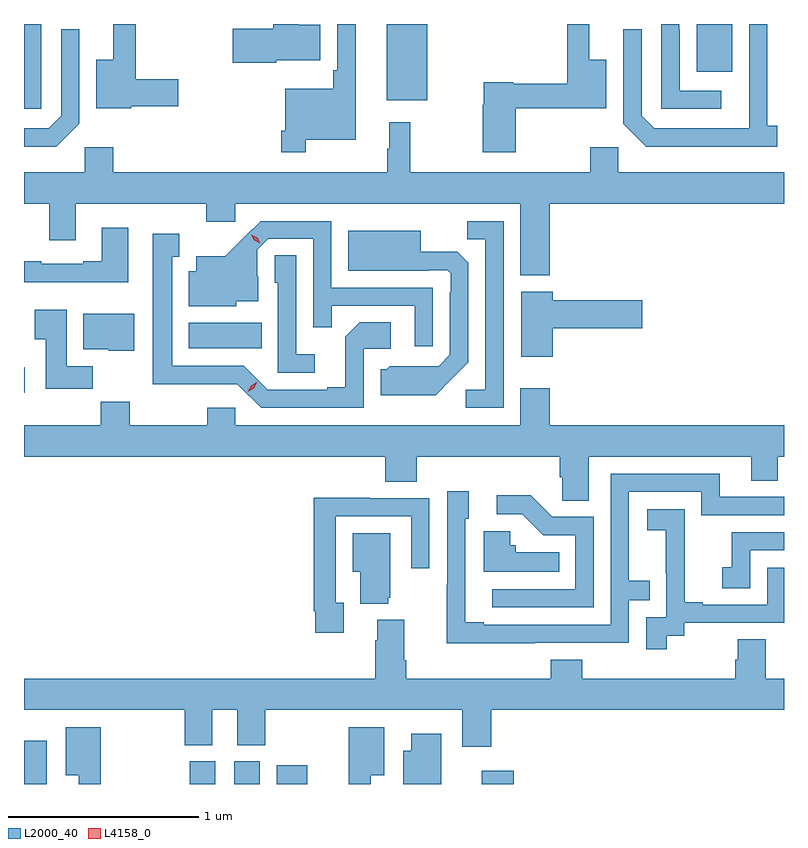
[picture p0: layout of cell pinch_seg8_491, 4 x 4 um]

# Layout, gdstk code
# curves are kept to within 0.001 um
import gdstk
lib = gdstk.Library(unit=1e-6, precision=1e-09)
def R(c, l, rs):  # rectangles x0, y0, x1, y1
    for r in rs: c.add(gdstk.rectangle(r[:2], r[2:], *l))
def P(c, l, *ps):  # polygons
    for p in ps: c.add(gdstk.Polygon(p, *l))
L2000_40 = (2000, 40)
L4158_0 = (4158, 0)

pinch_seg8_491 = lib.new_cell('pinch_seg8_491')
R(pinch_seg8_491, L2000_40, [(157.151,1121.437,157.27,1121.665), (158.024,1121.437,158.158,1121.556), (158.258,1121.437,158.392,1121.556), (158.48,1121.437,158.641,1121.536), (159.56,1121.437,159.728,1121.506), (157.151,1123.496,157.156,1123.63), (158.018,1123.73,158.402,1123.864), (157.151,1124.991,157.242,1125.437), (159.059,1125.035,159.274,1125.437), (160.691,1125.185,160.879,1125.437)])
P(pinch_seg8_491, L2000_40, [(161.116,1124.902),(161.064,1124.902),(161.064,1125.437),(160.968,1125.437),(160.967,1124.889),(160.467,1124.889),(160.401,1124.955),(160.401,1125.409),(160.305,1125.409),(160.305,1124.913),(160.426,1124.792),(161.116,1124.792)],
  [(157.716,1125.004),(157.963,1125.004),(157.963,1125.146),(157.739,1125.146),(157.739,1125.437),(157.622,1125.437),(157.622,1125.25),(157.532,1125.25),(157.532,1124.993),(157.716,1124.993)],
  [(158.478,1125.245),(158.71,1125.245),(158.71,1125.433),(158.596,1125.433),(158.596,1125.437),(158.462,1125.437),(158.462,1125.411),(158.25,1125.411),(158.25,1125.233),(158.478,1125.233)],
  [(158.635,1124.828),(158.896,1124.828),(158.896,1125.437),(158.799,1125.437),(158.799,1125.193),(158.779,1125.193),(158.779,1125.097),(158.526,1125.097),(158.526,1124.875),(158.506,1124.875),(158.506,1124.763),(158.635,1124.763)],
  [(159.738,1124.994),(160.216,1124.994),(160.216,1125.25),(160.127,1125.25),(160.127,1125.437),(160.009,1125.437),(160.009,1125.122),(159.726,1125.122),(159.726,1125.13),(159.572,1125.13),(159.572,1125.011),(159.565,1125.011),(159.565,1124.763),(159.738,1124.763)],
  [(160.822,1125.087),(160.602,1125.087),(160.602,1125.407),(160.599,1125.407),(160.599,1125.437),(160.506,1125.437),(160.506,1124.991),(160.822,1124.991)],
  [(157.443,1124.913),(157.443,1125.409),(157.347,1125.409),(157.347,1124.955),(157.281,1124.889),(157.151,1124.889),(157.151,1124.792),(157.322,1124.792)],
  [(159.917,1124.492),(161.151,1124.492),(161.151,1124.656),(160.278,1124.656),(160.278,1124.788),(160.132,1124.788),(160.132,1124.656),(159.184,1124.656),(159.184,1124.92),(159.074,1124.92),(159.074,1124.78),(159.063,1124.78),(159.063,1124.656),(157.622,1124.656),(157.622,1124.788),(157.47,1124.788),(157.47,1124.656),(157.151,1124.656),(157.151,1124.492),(157.283,1124.492),(157.283,1124.298),(157.423,1124.298),(157.423,1124.492),(158.111,1124.492),(158.111,1124.397),(158.262,1124.397),(158.262,1124.492),(159.764,1124.492),(159.764,1124.114),(159.917,1124.114)],
  [(159.303,1124.049),(158.769,1124.049),(158.769,1124.4),(158.396,1124.4),(158.209,1124.215),(158.057,1124.215),(158.057,1124.137),(158.018,1124.137),(158.018,1123.952),(158.268,1123.952),(158.268,1123.979),(158.383,1123.979),(158.383,1124.108),(158.379,1124.108),(158.379,1124.25),(158.436,1124.307),(158.673,1124.307),(158.673,1123.84),(158.771,1123.84),(158.771,1123.953),(159.207,1123.953),(159.207,1123.74),(159.303,1123.74)],
  [(159.675,1124.4),(159.484,1124.4),(159.484,1124.305),(159.579,1124.305),(159.579,1123.512),(159.477,1123.512),(159.477,1123.416),(159.675,1123.416)],
  [(157.699,1124.365),(157.559,1124.365),(157.559,1124.188),(157.463,1124.188),(157.463,1124.175),(157.243,1124.175),(157.243,1124.188),(157.151,1124.188),(157.151,1124.078),(157.699,1124.078)],
  [(159.397,1123.565),(159.489,1123.658),(159.489,1124.18),(159.43,1124.239),(159.238,1124.239),(159.238,1124.35),(158.858,1124.35),(158.858,1124.138),(159.278,1124.138),(159.278,1124.142),(159.378,1124.142),(159.396,1124.124),(159.396,1124.024),(159.393,1124.024),(159.393,1123.695),(159.333,1123.635),(159.076,1123.636),(159.06,1123.62),(159.029,1123.62),(159.029,1123.484),(159.317,1123.484)],
  [(158.94,1123.728),(159.082,1123.728),(159.082,1123.868),(158.917,1123.868),(158.841,1123.792),(158.841,1123.525),(158.747,1123.525),(158.747,1123.512),(158.433,1123.512),(158.307,1123.638),(157.93,1123.638),(157.93,1124.211),(157.969,1124.211),(157.969,1124.332),(157.829,1124.332),(157.829,1123.541),(158.274,1123.542),(158.4,1123.416),(158.94,1123.416)],
  [(158.68,1123.699),(158.583,1123.699),(158.583,1124.219),(158.472,1124.219),(158.472,1124.076),(158.487,1124.076),(158.487,1123.602),(158.68,1123.602)],
  [(159.934,1123.835),(160.405,1123.835),(160.405,1123.982),(159.934,1123.982),(159.934,1124.029),(159.767,1124.029),(159.767,1123.686),(159.934,1123.686)],
  [(157.514,1123.636),(157.375,1123.636),(157.375,1123.933),(157.208,1123.933),(157.208,1123.777),(157.265,1123.777),(157.265,1123.518),(157.514,1123.518)],
  [(157.732,1123.912),(157.463,1123.912),(157.463,1123.724),(157.596,1123.724),(157.596,1123.718),(157.732,1123.718)],
  [(159.917,1123.519),(159.764,1123.519),(159.764,1123.324),(158.262,1123.324),(158.262,1123.417),(158.116,1123.417),(158.116,1123.324),(157.707,1123.324),(157.707,1123.448),(157.555,1123.448),(157.555,1123.324),(157.151,1123.324),(157.151,1123.16),(159.053,1123.16),(159.053,1123.027),(159.218,1123.027),(159.218,1123.16),(159.971,1123.16),(159.971,1123.051),(159.984,1123.051),(159.984,1122.928),(160.123,1122.928),(160.123,1123.16),(160.979,1123.16),(160.979,1123.033),(161.118,1123.033),(161.118,1123.16),(161.151,1123.16),(161.151,1123.324),(159.917,1123.324)],
  [(159.839,1122.18),(160.335,1122.18),(160.335,1122.405),(160.445,1122.405),(160.445,1122.506),(160.335,1122.506),(160.335,1122.975),(160.716,1122.975),(160.716,1122.852),(161.151,1122.852),(161.151,1122.948),(160.813,1122.948),(160.813,1123.071),(160.239,1123.071),(160.239,1122.276),(159.571,1122.276),(159.571,1122.289),(159.474,1122.289),(159.474,1122.834),(159.493,1122.834),(159.493,1122.979),(159.378,1122.979),(159.378,1122.485),(159.376,1122.485),(159.376,1122.179),(159.839,1122.179)],
  [(160.149,1122.843),(159.93,1122.843),(159.817,1122.956),(159.639,1122.956),(159.639,1122.858),(159.773,1122.858),(159.884,1122.747),(160.053,1122.747),(160.053,1122.462),(159.615,1122.462),(159.615,1122.366),(160.149,1122.366)],
  [(158.833,1122.39),(158.793,1122.39),(158.793,1122.846),(159.189,1122.846),(159.189,1122.573),(159.285,1122.573),(159.285,1122.942),(158.969,1122.942),(158.969,1122.944),(158.677,1122.944),(158.677,1122.346),(158.685,1122.346),(158.685,1122.234),(158.833,1122.234)],
  [(160.534,1122.217),(160.626,1122.217),(160.626,1122.285),(161.151,1122.285),(161.151,1122.576),(161.064,1122.576),(161.064,1122.381),(160.723,1122.381),(160.723,1122.394),(160.628,1122.394),(160.628,1122.677),(160.629,1122.677),(160.629,1122.883),(160.431,1122.883),(160.431,1122.773),(160.529,1122.773),(160.529,1122.545),(160.53,1122.545),(160.53,1122.315),(160.425,1122.315),(160.425,1122.147),(160.534,1122.147)],
  [(159.968,1122.658),(159.738,1122.658),(159.738,1122.693),(159.711,1122.693),(159.711,1122.766),(159.572,1122.766),(159.572,1122.554),(159.968,1122.554)],
  [(160.974,1122.666),(161.151,1122.666),(161.151,1122.762),(160.876,1122.762),(160.876,1122.577),(160.827,1122.577),(160.827,1122.468),(160.974,1122.468)],
  [(159.068,1122.417),(159.079,1122.417),(159.079,1122.757),(158.882,1122.757),(158.882,1122.554),(158.921,1122.554),(158.921,1122.386),(159.068,1122.386)],
  [(161.151,1121.992),(161.055,1121.992),(161.055,1122.2),(160.907,1122.2),(160.907,1122.09),(160.895,1122.09),(160.895,1121.992),(160.088,1121.992),(160.088,1122.091),(159.923,1122.091),(159.923,1121.992),(159.164,1121.992),(159.164,1122.088),(159.151,1122.088),(159.151,1122.301),(159.011,1122.301),(159.011,1122.194),(158.999,1122.194),(158.999,1121.992),(157.151,1121.992),(157.151,1121.828),(157.996,1121.828),(157.996,1121.641),(158.143,1121.641),(158.143,1121.828),(158.273,1121.828),(158.273,1121.641),(158.421,1121.641),(158.421,1121.828),(159.458,1121.828),(159.458,1121.634),(159.611,1121.634),(159.611,1121.828),(161.151,1121.828)],
  [(157.555,1121.737),(157.37,1121.737),(157.37,1121.483),(157.439,1121.483),(157.439,1121.437),(157.555,1121.437)],
  [(158.977,1121.483),(159.046,1121.483),(159.046,1121.737),(158.861,1121.737),(158.861,1121.437),(158.977,1121.437)],
  [(159.346,1121.701),(159.188,1121.701),(159.188,1121.611),(159.146,1121.611),(159.146,1121.437),(159.346,1121.437)])
P(pinch_seg8_491, L4158_0, [(158.394,1124.282),(158.364,1124.298),(158.347,1124.328),(158.347,1124.328),(158.347,1124.328),(158.378,1124.312),(158.395,1124.282),(158.395,1124.282)],
  [(158.328,1123.502),(158.328,1123.502),(158.346,1123.534),(158.378,1123.553),(158.378,1123.553),(158.378,1123.553),(158.361,1123.521),(158.329,1123.502)])

lib.write_gds('pinch_seg8_491.gds')
